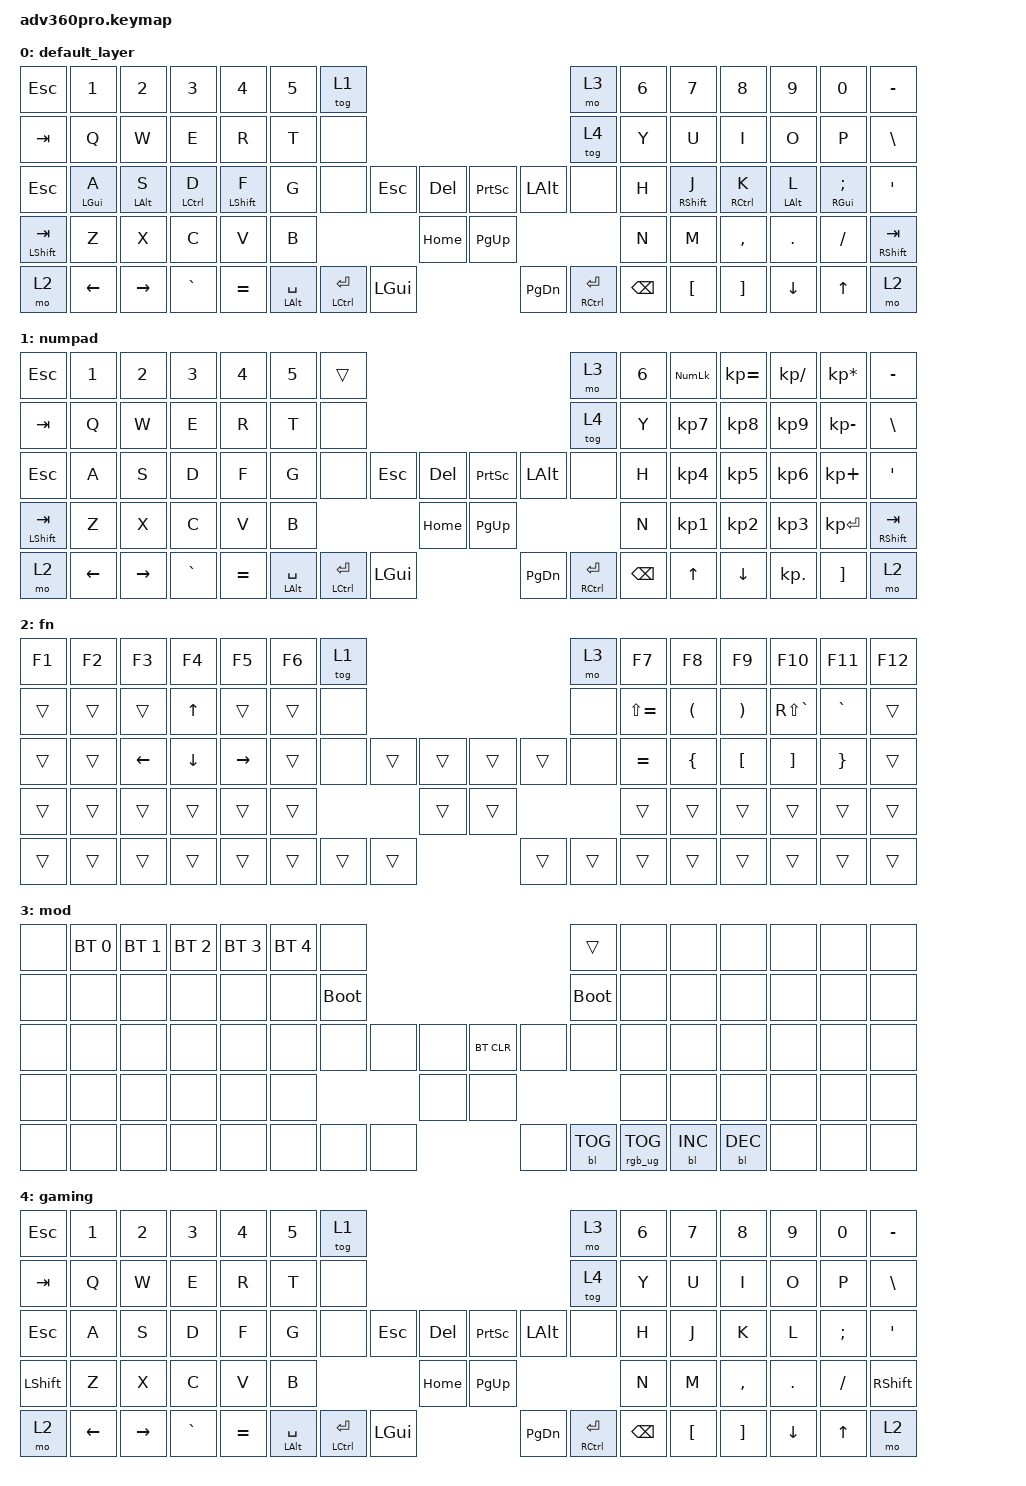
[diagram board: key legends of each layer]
/*
 * ZMK Keymap for Kinesis Advantage 360 Pro
 *
 * ZMK basics:
 *   &kp KEY        = "key press" — sends a normal keystroke
 *   &none          = key does nothing
 *   &trans         = "transparent" — falls through to the layer below
 *   &mo N          = "momentary layer" — activates layer N while held
 *   &tog N         = "toggle layer" — switches layer N on/off
 *
 * Hold-tap behaviors (defined below) give a key TWO actions:
 *   - TAP  (quick press & release) → sends one keycode
 *   - HOLD (press and keep holding) → sends a different keycode (usually a modifier)
 *   Example: &hml LGUI A → tap = A, hold = Left GUI/Super/Win
 */

#include <behaviors.dtsi>
#include <dt-bindings/zmk/backlight.h>
#include <dt-bindings/zmk/bt.h>
#include <dt-bindings/zmk/keys.h>
#include <dt-bindings/zmk/rgb.h>

/ {
    /*
     * ── BEHAVIORS ──────────────────────────────────────────────────────
     *
     * Custom hold-tap definitions. ZMK's hold-tap behavior lets a single
     * key act as a modifier when held and a normal key when tapped.
     *
     * Key timing parameters explained:
     *   tapping-term-ms   — how long you must hold before it counts as "held"
     *   quick-tap-ms      — if you tap the SAME key again within this window,
     *                        it always registers as a tap (good for double letters)
     *   require-prior-idle-ms — if ANY key was pressed within this many ms before,
     *                        immediately register as a tap (prevents misfires
     *                        during fast typing — the core "timeless" trick)
     *
     * Flavors:
     *   "balanced" — decides tap vs hold based on whether the NEXT key is
     *                pressed AND released before the tapping term expires.
     *   "tap-preferred" — if tapping-term expires without another keypress,
     *                resolves as TAP. (Not used here because it conflicts
     *                with hold-trigger-on-release.)
     *
     * Key repeat tip: double-tap and hold a home row key to get key repeat
     * (e.g., tap J then hold J to scroll in Vim). This works because
     * quick-tap-ms bypasses the hold-tap logic on the second press.
     */
    behaviors {
        /*
         * Thumb cluster hold-tap — used for thumb keys where you want
         * a modifier on hold and a normal key on tap.
         * Shorter tapping-term (200ms) since thumb keys are less prone to misfires.
         */
        mod_tab_balanced: mod_tab_balanced {
            compatible = "zmk,behavior-hold-tap";
            label = "MOD_TAB_BALANCED";
            bindings = <&kp>, <&kp>;
            #binding-cells = <2>;
            flavor = "balanced";
            tapping-term-ms = <200>;
            require-prior-idle-ms = <150>;
            quick-tap-ms = <150>;
        };

        /*
         * ── TIMELESS HOMEROW MODS (urob's method) ─────────────────────
         * See: https://github.com/urob/zmk-config#timeless-homerow-mods
         *
         * The key insight: combine a LARGE tapping-term (280ms) with
         * require-prior-idle-ms (150ms). The large tapping-term means you
         * don't need to be fast to trigger a hold. The prior-idle check
         * means that during normal typing (keys coming rapidly), the key
         * instantly registers as a tap — no delay.
         *
         * hold-trigger-key-positions limits which keys can trigger the
         * "hold" decision. We only list OPPOSITE-HAND keys + middle keys,
         * so same-hand rolls (e.g., typing "as" or "df") always produce
         * taps, never accidental modifiers.
         *
         * hold-trigger-on-release makes the hold decision wait until the
         * next key is released (not just pressed). This enables same-hand
         * modifier combos like Ctrl+A (hold D, then press A).
         *
         * Two separate behaviors are needed because each hand has a
         * different set of opposite-hand positions.
         */

        /* Home mod LEFT — for keys on the left hand (A, S, D, F).
         * Hold triggers only on right-hand keys + middle keys. */
        hml: home_mod_left {
            compatible = "zmk,behavior-hold-tap";
            label = "HOME_MOD_LEFT";
            bindings = <&kp>, <&kp>;
            #binding-cells = <2>;
            flavor = "balanced";
            tapping-term-ms = <280>;
            quick-tap-ms = <175>;

            /* Right hand (rows 0-4) + middle column + right thumb positions */
            hold-trigger-key-positions = <7 8 9 10 11 12 13 21 22 23 24 25 26 27 35 36 37 38 39 40 41 42 43 44 45 52 53 54 55 56 57 58 59 68 69 70 71 72 73 74 75>;
            hold-trigger-on-release;
        };

        /* Home mod RIGHT — for keys on the right hand (J, K, L, ;).
         * Hold triggers only on left-hand keys + middle keys. */
        hmr: home_mod_right {
            compatible = "zmk,behavior-hold-tap";
            label = "HOME_MOD_RIGHT";
            bindings = <&kp>, <&kp>;
            #binding-cells = <2>;
            flavor = "balanced";
            tapping-term-ms = <280>;
            quick-tap-ms = <175>;

            /* Left hand (rows 0-4) + middle column + left thumb positions */
            hold-trigger-key-positions = <0 1 2 3 4 5 6 14 15 16 17 18 19 20 28 29 30 31 32 33 34 35 36 37 38 46 47 48 49 50 51 60 61 62 63 64 65 66 67>;
            hold-trigger-on-release;
        };
    };

    keymap {
        compatible = "zmk,keymap";

        /*
         * ── LAYER 0: DEFAULT (QWERTY) ─────────────────────────────────
         *
         * Home row mods (GACS order = GUI, Alt, Ctrl, Shift from pinky to index):
         *   Left:  A=GUI  S=ALT  D=CTRL  F=SHIFT
         *   Right: J=SHIFT  K=CTRL  L=ALT  ;=GUI
         *
         * This eliminates most pinky modifier usage — Shift, Ctrl, Alt,
         * and GUI are all available on the home row via hold.
         */
        default_layer {
            bindings = <
&kp ESCAPE  &kp N1          &kp N2           &kp N3     &kp N4         &kp N5  &tog 1                                                                                                                                                                         &mo 3  &kp N6  &kp N7            &kp N8             &kp N9          &kp N0            &kp MINUS
&kp TAB     &kp Q           &kp W            &kp E      &kp R          &kp T   &none                                                                                                                                                                          &tog 4  &kp Y   &kp U             &kp I              &kp O           &kp P             &kp BSLH
&kp ESC     &hml LGUI A     &hml LALT S      &hml LCTRL D  &hml LSHIFT F  &kp G   &none                                     &kp ESC                                &kp DEL         &kp PRINTSCREEN  &kp LEFT_ALT                                               &none  &kp H   &hmr RSHIFT J     &hmr RCTRL K       &hmr LALT L     &hmr RGUI SEMI    &kp SQT
&mod_tab_balanced LSHFT TAB   &kp Z           &kp X            &kp C      &kp V          &kp B                                                                                       &kp HOME        &kp PG_UP                                                                         &kp N   &kp M             &kp COMMA          &kp DOT         &kp FSLH          &mod_tab_balanced RSHFT TAB
&mo 2       &kp LEFT_ARROW  &kp RIGHT_ARROW  &kp GRAVE  &kp EQUAL              &mod_tab_balanced LEFT_ALT SPACE /* tap: Space, hold: Alt */  &mod_tab_balanced LEFT_CONTROL RETURN /* tap: Enter, hold: Ctrl */  &kp LEFT_GUI    &kp PG_DN        &mod_tab_balanced RIGHT_CONTROL RETURN /* tap: Enter, hold: Ctrl */  &kp BACKSPACE                 &kp LEFT_BRACKET  &kp RIGHT_BRACKET  &kp DOWN_ARROW  &kp UP_ARROW      &mo 2
            >;
        };

        /* ── LAYER 1: NUMPAD ─────────────────────────────────────────
         * Toggled with &tog 1. Same as default layer but:
         * - No homerow mods (plain A/S/D/F and J/K/L/;)
         * - Right side is a numpad */
        numpad {
            bindings = <
&kp ESCAPE  &kp N1          &kp N2           &kp N3     &kp N4     &kp N5  &trans                                                                                                                                                                         &mo 3  &kp N6  &kp KP_NUM        &kp KP_EQUAL       &kp KP_DIVIDE   &kp KP_MULTIPLY   &kp MINUS
&kp TAB     &kp Q           &kp W            &kp E      &kp R      &kp T   &none                                                                                                                                                                          &tog 4  &kp Y   &kp KP_N7         &kp KP_N8          &kp KP_N9       &kp KP_MINUS      &kp BSLH
&kp ESC     &kp A           &kp S            &kp D      &kp F      &kp G   &none                                     &kp ESC                                &kp DEL         &kp PRINTSCREEN  &kp LEFT_ALT                                               &none  &kp H   &kp KP_N4         &kp KP_N5          &kp KP_N6       &kp KP_PLUS       &kp SQT
&mod_tab_balanced LSHFT TAB   &kp Z           &kp X            &kp C      &kp V      &kp B                                                                                    &kp HOME        &kp PG_UP                                                                          &kp N   &kp KP_N1         &kp KP_N2          &kp KP_N3       &kp KP_ENTER      &mod_tab_balanced RSHFT TAB
&mo 2       &kp LEFT_ARROW  &kp RIGHT_ARROW  &kp GRAVE  &kp EQUAL          &mod_tab_balanced LEFT_ALT SPACE  &mod_tab_balanced LEFT_CONTROL RETURN  &kp LEFT_GUI    &kp PG_DN        &mod_tab_balanced RIGHT_CONTROL RETURN  &kp BACKSPACE                 &kp UP            &kp DOWN           &kp KP_DOT      &kp RBKT          &mo 2
            >;
        };

        /* ── LAYER 2: FN / SYMBOLS ────────────────────────────────────
         * Activated with &mo 2 (hold bottom-corner keys).
         * Top row = F1-F12, home row right = brackets/braces/symbols,
         * left home row = arrow keys for navigation. */
        fn {
            bindings = <
&kp F1  &kp F2  &kp F3          &kp F4          &kp F5           &kp F6  &tog 1                                                    &mo 3  &kp F7         &kp F8                &kp F9                 &kp F10            &kp F11          &kp F12
&trans  &trans  &trans          &kp UP_ARROW    &trans           &trans  &none                                                     &none  &kp LS(EQUAL)  &kp LEFT_PARENTHESIS  &kp RIGHT_PARENTHESIS  &kp RS(GRAVE)      &kp GRAVE        &trans
&trans  &trans  &kp LEFT_ARROW  &kp DOWN_ARROW  &kp RIGHT_ARROW  &trans  &none           &trans  &trans    &trans  &trans          &none  &kp EQUAL      &kp LEFT_BRACE        &kp LEFT_BRACKET       &kp RIGHT_BRACKET  &kp RIGHT_BRACE  &trans
&trans  &trans  &trans          &trans          &trans           &trans                          &trans    &trans                         &trans         &trans                &trans                 &trans             &trans           &trans
&trans  &trans  &trans          &trans          &trans                           &trans  &trans  &trans    &trans  &trans  &trans                        &trans                &trans                 &trans             &trans           &trans
            >;
        };

        /* ── LAYER 3: MOD / SYSTEM ────────────────────────────────────
         * Activated with &mo 3 (top-right key).
         * Bluetooth profile selection, bootloader mode,
         * backlight and RGB controls. */
        mod {
            bindings = <
&none  &bt BT_SEL 0  &bt BT_SEL 1  &bt BT_SEL 2  &bt BT_SEL 3  &bt BT_SEL 4  &none                                                                        &trans       &none  &none       &none       &none  &none  &none
&none   &none         &none         &none         &none         &none         &bootloader                                                                  &bootloader  &none  &none       &none       &none  &none  &none
&none   &none         &none         &none         &none         &none         &none               &none  &none    &bt BT_CLR  &none                        &none        &none  &none       &none       &none  &none  &none
&none   &none         &none         &none         &none         &none                                    &none    &none                                                 &none  &none       &none       &none  &none  &none
&none   &none         &none         &none         &none                                    &none  &none  &none    &none       &bl BL_TOG  &rgb_ug RGB_TOG                      &bl BL_INC  &bl BL_DEC  &none  &none  &none
            >;
        };

        /* ── LAYER 4: GAMING ─────────────────────────────────────────
         * Toggled with &tog 4 (right half, row 1, innermost key).
         * Same as default layer but no homerow mods — plain keys
         * so WASD and other keys respond instantly without hold-tap. */
        gaming {
            bindings = <
&kp ESCAPE  &kp N1          &kp N2           &kp N3     &kp N4     &kp N5  &tog 1                                                                                                                                                                         &mo 3  &kp N6  &kp N7            &kp N8             &kp N9          &kp N0            &kp MINUS
&kp TAB     &kp Q           &kp W            &kp E      &kp R      &kp T   &none                                                                                                                                                                          &tog 4  &kp Y   &kp U             &kp I              &kp O           &kp P             &kp BSLH
&kp ESC     &kp A           &kp S            &kp D      &kp F      &kp G   &none                                     &kp ESC                                &kp DEL         &kp PRINTSCREEN  &kp LEFT_ALT                                               &none  &kp H   &kp J             &kp K              &kp L           &kp SEMI          &kp SQT
&kp LSHFT   &kp Z           &kp X            &kp C      &kp V      &kp B                                                                                    &kp HOME        &kp PG_UP                                                                          &kp N   &kp M             &kp COMMA          &kp DOT         &kp FSLH          &kp RSHFT
&mo 2       &kp LEFT_ARROW  &kp RIGHT_ARROW  &kp GRAVE  &kp EQUAL          &mod_tab_balanced LEFT_ALT SPACE  &mod_tab_balanced LEFT_CONTROL RETURN  &kp LEFT_GUI    &kp PG_DN        &mod_tab_balanced RIGHT_CONTROL RETURN  &kp BACKSPACE                 &kp LEFT_BRACKET  &kp RIGHT_BRACKET  &kp DOWN_ARROW  &kp UP_ARROW      &mo 2
            >;
        };
    };
};
